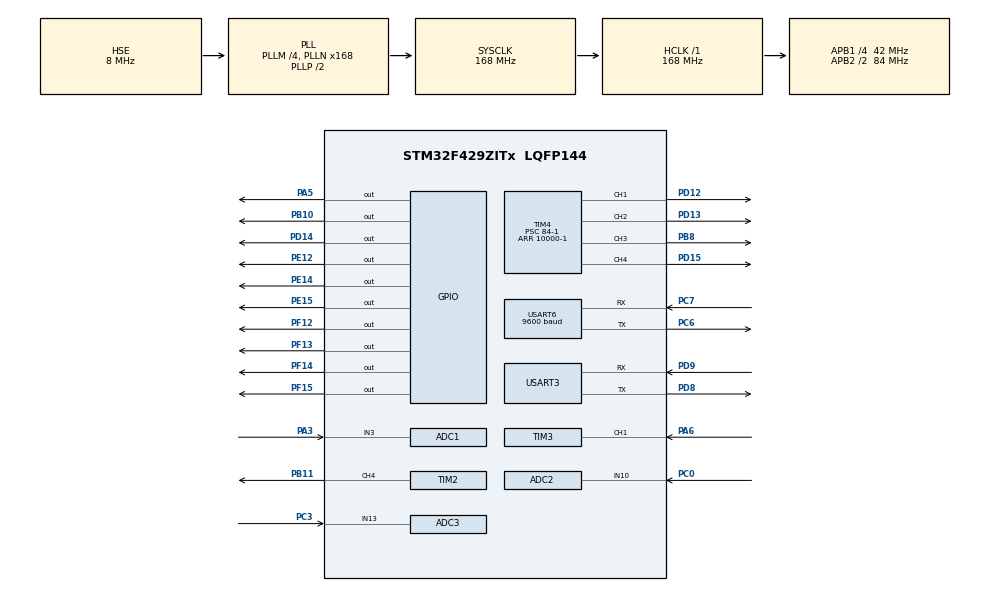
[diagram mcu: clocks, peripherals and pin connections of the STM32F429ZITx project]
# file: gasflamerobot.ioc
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ADC1.Channel-3\#ChannelRegularConversion=ADC_CHANNEL_3
ADC1.NbrOfConversionFlag=1
ADC1.Rank-3\#ChannelRegularConversion=1
ADC1.SamplingTime-3\#ChannelRegularConversion=ADC_SAMPLETIME_3CYCLES
ADC1.master=1
ADC2.Channel-3\#ChannelRegularConversion=ADC_CHANNEL_10
ADC2.NbrOfConversionFlag=1
ADC2.Rank-3\#ChannelRegularConversion=1
ADC2.SamplingTime-3\#ChannelRegularConversion=ADC_SAMPLETIME_3CYCLES
ADC3.Channel-2\#ChannelRegularConversion=ADC_CHANNEL_13
ADC3.NbrOfConversionFlag=1
ADC3.Rank-2\#ChannelRegularConversion=1
ADC3.SamplingTime-2\#ChannelRegularConversion=ADC_SAMPLETIME_3CYCLES
FREERTOS.Tasks01=drivingTask,24,128,drivingTask_init,Default,NULL,Dynamic,NULL,NULL;sensorTask,24,128,sensorTask_init,Default,NULL,Dynamic,NULL,NULL
Mcu.Family=STM32F4
Mcu.Name=STM32F429ZITx
Mcu.Package=LQFP144
NVIC.PriorityGroup=NVIC_PRIORITYGROUP_4
NVIC.TIM3_IRQn=true\:5\:0\:false\:false\:true\:true\:true\:true\:true
PA13.Mode=Serial_Wire
PA13.Signal=SYS_JTMS-SWDIO
PA14.Mode=Serial_Wire
PA14.Signal=SYS_JTCK-SWCLK
PA3.Signal=ADCx_IN3
PA5.Signal=GPIO_Output
PA6.Signal=S_TIM3_CH1
PB10.Signal=GPIO_Output
PB11.Signal=S_TIM2_CH4
PB8.Signal=S_TIM4_CH3
PC0.Signal=ADCx_IN10
PC14/OSC32_IN.Mode=LSE-External-Oscillator
PC14/OSC32_IN.Signal=RCC_OSC32_IN
PC15/OSC32_OUT.Mode=LSE-External-Oscillator
PC15/OSC32_OUT.Signal=RCC_OSC32_OUT
PC3.Signal=ADCx_IN13
PC6.Mode=Asynchronous
PC6.Signal=USART6_TX
PC7.Mode=Asynchronous
PC7.Signal=USART6_RX
PD12.Signal=S_TIM4_CH1
PD13.Signal=S_TIM4_CH2
PD14.Signal=GPIO_Output
PD15.Signal=S_TIM4_CH4
PD8.Mode=Asynchronous
PD8.Signal=USART3_TX
PD9.Mode=Asynchronous
PD9.Signal=USART3_RX
PE12.Signal=GPIO_Output
PE14.Signal=GPIO_Output
PE15.Signal=GPIO_Output
PF12.Signal=GPIO_Output
PF13.Signal=GPIO_Output
PF14.Signal=GPIO_Output
PF15.Signal=GPIO_Output
PH0/OSC_IN.Mode=HSE-External-Clock-Source
PH0/OSC_IN.Signal=RCC_OSC_IN
PH1/OSC_OUT.Mode=HSE-External-Clock-Source
PH1/OSC_OUT.Signal=RCC_OSC_OUT
ProjectManager.HeapSize=0x200
ProjectManager.StackSize=0x400
ProjectManager.TargetToolchain=STM32CubeIDE
RCC.48MHZClocksFreq_Value=48000000
RCC.AHBFreq_Value=168000000
RCC.APB1CLKDivider=RCC_HCLK_DIV4
RCC.APB1Freq_Value=42000000
RCC.APB1TimFreq_Value=84000000
RCC.APB2CLKDivider=RCC_HCLK_DIV2
RCC.APB2Freq_Value=84000000
RCC.APB2TimFreq_Value=168000000
RCC.CortexFreq_Value=168000000
RCC.HCLKFreq_Value=168000000
RCC.HSE_VALUE=8000000
RCC.HSI_VALUE=16000000
RCC.PLLM=4
RCC.PLLMUL=RCC_PLL_MUL9
RCC.PLLN=168
RCC.PLLQ=7
RCC.PLLSourceVirtual=RCC_PLLSOURCE_HSE
RCC.PRESCALERUSB=RCC_USBCLKSOURCE_PLL_DIV1_5
RCC.SYSCLKFreq_VALUE=168000000
RCC.SYSCLKSource=RCC_SYSCLKSOURCE_PLLCLK
RCC.SYSCLKSourceVirtual=RCC_SYSCLKSOURCE_PLLCLK
RCC.USBFreq_Value=48000000
RCC.VCOOutputFreq_Value=336000000
SH.ADCx_IN10.0=ADC2_IN10,IN10
SH.ADCx_IN13.0=ADC3_IN13,IN13
SH.ADCx_IN3.0=ADC1_IN3,IN3
SH.S_TIM2_CH4.0=TIM2_CH4,PWM Generation4 CH4
SH.S_TIM3_CH1.0=TIM3_CH1,Input_Capture1_from_TI1
SH.S_TIM4_CH1.0=TIM4_CH1,PWM Generation1 CH1
SH.S_TIM4_CH2.0=TIM4_CH2,PWM Generation2 CH2
SH.S_TIM4_CH3.0=TIM4_CH3,PWM Generation3 CH3
SH.S_TIM4_CH4.0=TIM4_CH4,PWM Generation4 CH4
TIM2.Channel-PWM\ Generation4\ CH4=TIM_CHANNEL_4
TIM2.Period=1000-1
TIM2.Prescaler=1680-1
TIM3.Channel-Input_Capture1_from_TI1=TIM_CHANNEL_1
TIM3.Period=65535-1
TIM3.Prescaler=84-1
TIM4.Channel-PWM\ Generation1\ CH1=TIM_CHANNEL_1
TIM4.Channel-PWM\ Generation2\ CH2=TIM_CHANNEL_2
TIM4.Channel-PWM\ Generation3\ CH3=TIM_CHANNEL_3
TIM4.Channel-PWM\ Generation4\ CH4=TIM_CHANNEL_4
TIM4.Period=10000-1
TIM4.Prescaler=84-1
USART3.VirtualMode=VM_ASYNC
USART6.BaudRate=9600
USART6.VirtualMode=VM_ASYNC
VP_FREERTOS_VS_CMSIS_V2.Mode=CMSIS_V2
VP_TIM3_VS_ClockSourceINT.Mode=Internal
board=NUCLEO-F429ZI

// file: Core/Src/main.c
#include "main.h"
#include "cmsis_os.h"

#define TRIG_PIN GPIO_PIN_5
#define TRIG_PORT GPIOA

uint16_t value1;

typedef struct{
uint16_t distance;
uint16_t value2;
}IR;

IR r;

typedef struct{
uint32_t IC_Val1 = 0;
uint32_t IC_Val2 = 0;
uint32_t Difference = 0;
uint8_t Is_First_Captured = 0;
uint8_t Distance  = 0;
}Ultra;

Ultra u;

char buf[50];
char buf2[50];
char buf3[50];
char buf4[50];

ADC_HandleTypeDef hadc1;
ADC_HandleTypeDef hadc2;
ADC_HandleTypeDef hadc3;

TIM_HandleTypeDef htim2;
TIM_HandleTypeDef htim3;
TIM_HandleTypeDef htim4;

UART_HandleTypeDef huart3;
UART_HandleTypeDef huart6;

osThreadId_t drivingTaskHandle;
const osThreadAttr_t drivingTask_attributes = {
  .name = "drivingTask",
  .stack_size = 128 * 4,
  .priority = (osPriority_t) osPriorityNormal,
};

osThreadId_t sensorTaskHandle;
const osThreadAttr_t sensorTask_attributes = {
  .name = "sensorTask",
  .stack_size = 128 * 4,
  .priority = (osPriority_t) osPriorityNormal,
};

void SystemClock_Config(void);
static void MX_GPIO_Init(void);
static void MX_USART3_UART_Init(void);
static void MX_ADC1_Init(void);
static void MX_ADC2_Init(void);
static void MX_ADC3_Init(void);
static void MX_TIM4_Init(void);
static void MX_TIM2_Init(void);
static void MX_USART6_UART_Init(void);
static void MX_TIM3_Init(void);
void drivingTask_init(void *argument);
void sensorTask_init(void *argument);

int main(void)
{

  HAL_Init();

  SystemClock_Config();

  MX_GPIO_Init();
  MX_USART3_UART_Init();
  MX_ADC1_Init();
  MX_ADC2_Init();
  MX_ADC3_Init();
  MX_TIM4_Init();
  MX_TIM2_Init();
  MX_USART6_UART_Init();
  MX_TIM3_Init();

  osKernelInitialize();

  drivingTaskHandle = osThreadNew(drivingTask_init, NULL, &drivingTask_attributes);

  sensorTaskHandle = osThreadNew(sensorTask_init, NULL, &sensorTask_attributes);

  osKernelStart();

  while (1)
  {

  }
}

void SystemClock_Config(void)
{
  RCC_OscInitTypeDef RCC_OscInitStruct = {0};
  RCC_ClkInitTypeDef RCC_ClkInitStruct = {0};

  __HAL_RCC_PWR_CLK_ENABLE();
  __HAL_PWR_VOLTAGESCALING_CONFIG(PWR_REGULATOR_VOLTAGE_SCALE1);

  RCC_OscInitStruct.OscillatorType = RCC_OSCILLATORTYPE_HSE;
  RCC_OscInitStruct.HSEState = RCC_HSE_BYPASS;
  RCC_OscInitStruct.PLL.PLLState = RCC_PLL_ON;
  RCC_OscInitStruct.PLL.PLLSource = RCC_PLLSOURCE_HSE;
  RCC_OscInitStruct.PLL.PLLM = 4;
  RCC_OscInitStruct.PLL.PLLN = 168;
  RCC_OscInitStruct.PLL.PLLP = RCC_PLLP_DIV2;
  RCC_OscInitStruct.PLL.PLLQ = 7;
  if (HAL_RCC_OscConfig(&RCC_OscInitStruct) != HAL_OK)
  {
    Error_Handler();
  }

  RCC_ClkInitStruct.ClockType = RCC_CLOCKTYPE_HCLK|RCC_CLOCKTYPE_SYSCLK
                              |RCC_CLOCKTYPE_PCLK1|RCC_CLOCKTYPE_PCLK2;
  RCC_ClkInitStruct.SYSCLKSource = RCC_SYSCLKSOURCE_PLLCLK;
  RCC_ClkInitStruct.AHBCLKDivider = RCC_SYSCLK_DIV1;
  RCC_ClkInitStruct.APB1CLKDivider = RCC_HCLK_DIV4;
  RCC_ClkInitStruct.APB2CLKDivider = RCC_HCLK_DIV2;

  if (HAL_RCC_ClockConfig(&RCC_ClkInitStruct, FLASH_LATENCY_5) != HAL_OK)
  {
    Error_Handler();
  }
}

static void MX_ADC1_Init(void)
{

  ADC_ChannelConfTypeDef sConfig = {0};

  hadc1.Instance = ADC1;
  hadc1.Init.ClockPrescaler = ADC_CLOCK_SYNC_PCLK_DIV4;
  hadc1.Init.Resolution = ADC_RESOLUTION_12B;
  hadc1.Init.ScanConvMode = DISABLE;
  hadc1.Init.ContinuousConvMode = DISABLE;
  hadc1.Init.DiscontinuousConvMode = DISABLE;
  hadc1.Init.ExternalTrigConvEdge = ADC_EXTERNALTRIGCONVEDGE_NONE;
  hadc1.Init.ExternalTrigConv = ADC_SOFTWARE_START;
  hadc1.Init.DataAlign = ADC_DATAALIGN_RIGHT;
  hadc1.Init.NbrOfConversion = 1;
  hadc1.Init.DMAContinuousRequests = DISABLE;
  hadc1.Init.EOCSelection = ADC_EOC_SINGLE_CONV;
  if (HAL_ADC_Init(&hadc1) != HAL_OK)
  {
    Error_Handler();
  }

  sConfig.Channel = ADC_CHANNEL_3;
  sConfig.Rank = 1;
  sConfig.SamplingTime = ADC_SAMPLETIME_3CYCLES;
  if (HAL_ADC_ConfigChannel(&hadc1, &sConfig) != HAL_OK)
  {
    Error_Handler();
  }

}

static void MX_ADC2_Init(void)
{

  ADC_ChannelConfTypeDef sConfig = {0};

  hadc2.Instance = ADC2;
  hadc2.Init.ClockPrescaler = ADC_CLOCK_SYNC_PCLK_DIV4;
  hadc2.Init.Resolution = ADC_RESOLUTION_12B;
  hadc2.Init.ScanConvMode = DISABLE;
  hadc2.Init.ContinuousConvMode = DISABLE;
  hadc2.Init.DiscontinuousConvMode = DISABLE;
  hadc2.Init.ExternalTrigConvEdge = ADC_EXTERNALTRIGCONVEDGE_NONE;
  hadc2.Init.ExternalTrigConv = ADC_SOFTWARE_START;
  hadc2.Init.DataAlign = ADC_DATAALIGN_RIGHT;
  hadc2.Init.NbrOfConversion = 1;
  hadc2.Init.DMAContinuousRequests = DISABLE;
  hadc2.Init.EOCSelection = ADC_EOC_SINGLE_CONV;
  if (HAL_ADC_Init(&hadc2) != HAL_OK)
  {
    Error_Handler();
  }

  sConfig.Channel = ADC_CHANNEL_10;
  sConfig.Rank = 1;
  sConfig.SamplingTime = ADC_SAMPLETIME_3CYCLES;
  if (HAL_ADC_ConfigChannel(&hadc2, &sConfig) != HAL_OK)
  {
    Error_Handler();
  }

}

static void MX_ADC3_Init(void)
{

  ADC_ChannelConfTypeDef sConfig = {0};

  hadc3.Instance = ADC3;
  hadc3.Init.ClockPrescaler = ADC_CLOCK_SYNC_PCLK_DIV4;
  hadc3.Init.Resolution = ADC_RESOLUTION_12B;
  hadc3.Init.ScanConvMode = DISABLE;
  hadc3.Init.ContinuousConvMode = DISABLE;
  hadc3.Init.DiscontinuousConvMode = DISABLE;
  hadc3.Init.ExternalTrigConvEdge = ADC_EXTERNALTRIGCONVEDGE_NONE;
  hadc3.Init.ExternalTrigConv = ADC_SOFTWARE_START;
  hadc3.Init.DataAlign = ADC_DATAALIGN_RIGHT;
  hadc3.Init.NbrOfConversion = 1;
  hadc3.Init.DMAContinuousRequests = DISABLE;
  hadc3.Init.EOCSelection = ADC_EOC_SINGLE_CONV;
  if (HAL_ADC_Init(&hadc3) != HAL_OK)
  {
    Error_Handler();
  }

  sConfig.Channel = ADC_CHANNEL_13;
  sConfig.Rank = 1;
  sConfig.SamplingTime = ADC_SAMPLETIME_3CYCLES;
  if (HAL_ADC_ConfigChannel(&hadc3, &sConfig) != HAL_OK)
  {
    Error_Handler();
  }
}

static void MX_TIM2_Init(void)
{

  TIM_MasterConfigTypeDef sMasterConfig = {0};
  TIM_OC_InitTypeDef sConfigOC = {0};

  htim2.Instance = TIM2;
  htim2.Init.Prescaler = 1680-1;
  htim2.Init.CounterMode = TIM_COUNTERMODE_UP;
  htim2.Init.Period = 1000-1;
  htim2.Init.ClockDivision = TIM_CLOCKDIVISION_DIV1;
  htim2.Init.AutoReloadPreload = TIM_AUTORELOAD_PRELOAD_DISABLE;
  if (HAL_TIM_PWM_Init(&htim2) != HAL_OK)
  {
    Error_Handler();
  }
  sMasterConfig.MasterOutputTrigger = TIM_TRGO_RESET;
  sMasterConfig.MasterSlaveMode = TIM_MASTERSLAVEMODE_DISABLE;
  if (HAL_TIMEx_MasterConfigSynchronization(&htim2, &sMasterConfig) != HAL_OK)
  {
    Error_Handler();
  }
  sConfigOC.OCMode = TIM_OCMODE_PWM1;
  sConfigOC.Pulse = 0;
  sConfigOC.OCPolarity = TIM_OCPOLARITY_HIGH;
  sConfigOC.OCFastMode = TIM_OCFAST_DISABLE;
  if (HAL_TIM_PWM_ConfigChannel(&htim2, &sConfigOC, TIM_CHANNEL_4) != HAL_OK)
  {
    Error_Handler();
  }

  HAL_TIM_MspPostInit(&htim2);

}

static void MX_TIM3_Init(void)
{

  TIM_ClockConfigTypeDef sClockSourceConfig = {0};
  TIM_MasterConfigTypeDef sMasterConfig = {0};
  TIM_IC_InitTypeDef sConfigIC = {0};

  htim3.Instance = TIM3;
  htim3.Init.Prescaler = 84-1;
  htim3.Init.CounterMode = TIM_COUNTERMODE_UP;
  htim3.Init.Period = 65535-1;
  htim3.Init.ClockDivision = TIM_CLOCKDIVISION_DIV1;
  htim3.Init.AutoReloadPreload = TIM_AUTORELOAD_PRELOAD_DISABLE;
  if (HAL_TIM_Base_Init(&htim3) != HAL_OK)
  {
    Error_Handler();
  }
  sClockSourceConfig.ClockSource = TIM_CLOCKSOURCE_INTERNAL;
  if (HAL_TIM_ConfigClockSource(&htim3, &sClockSourceConfig) != HAL_OK)
  {
    Error_Handler();
  }
  if (HAL_TIM_IC_Init(&htim3) != HAL_OK)
  {
    Error_Handler();
  }
  sMasterConfig.MasterOutputTrigger = TIM_TRGO_RESET;
  sMasterConfig.MasterSlaveMode = TIM_MASTERSLAVEMODE_DISABLE;
  if (HAL_TIMEx_MasterConfigSynchronization(&htim3, &sMasterConfig) != HAL_OK)
  {
    Error_Handler();
  }
  sConfigIC.ICPolarity = TIM_INPUTCHANNELPOLARITY_RISING;
  sConfigIC.ICSelection = TIM_ICSELECTION_DIRECTTI;
  sConfigIC.ICPrescaler = TIM_ICPSC_DIV1;
  sConfigIC.ICFilter = 0;
  if (HAL_TIM_IC_ConfigChannel(&htim3, &sConfigIC, TIM_CHANNEL_1) != HAL_OK)
  {
    Error_Handler();
  }

}

static void MX_TIM4_Init(void)
{

  TIM_MasterConfigTypeDef sMasterConfig = {0};
  TIM_OC_InitTypeDef sConfigOC = {0};

  htim4.Instance = TIM4;
  htim4.Init.Prescaler = 84-1;
  htim4.Init.CounterMode = TIM_COUNTERMODE_UP;
  htim4.Init.Period = 10000-1;
  htim4.Init.ClockDivision = TIM_CLOCKDIVISION_DIV1;
  htim4.Init.AutoReloadPreload = TIM_AUTORELOAD_PRELOAD_DISABLE;
  if (HAL_TIM_PWM_Init(&htim4) != HAL_OK)
  {
    Error_Handler();
  }
  sMasterConfig.MasterOutputTrigger = TIM_TRGO_RESET;
  sMasterConfig.MasterSlaveMode = TIM_MASTERSLAVEMODE_DISABLE;
  if (HAL_TIMEx_MasterConfigSynchronization(&htim4, &sMasterConfig) != HAL_OK)
  {
    Error_Handler();
  }
  sConfigOC.OCMode = TIM_OCMODE_PWM1;
  sConfigOC.Pulse = 0;
  sConfigOC.OCPolarity = TIM_OCPOLARITY_HIGH;
  sConfigOC.OCFastMode = TIM_OCFAST_DISABLE;
  if (HAL_TIM_PWM_ConfigChannel(&htim4, &sConfigOC, TIM_CHANNEL_1) != HAL_OK)
  {
    Error_Handler();
  }
  if (HAL_TIM_PWM_ConfigChannel(&htim4, &sConfigOC, TIM_CHANNEL_2) != HAL_OK)
  {
    Error_Handler();
  }
  if (HAL_TIM_PWM_ConfigChannel(&htim4, &sConfigOC, TIM_CHANNEL_3) != HAL_OK)
  {
    Error_Handler();
  }
  if (HAL_TIM_PWM_ConfigChannel(&htim4, &sConfigOC, TIM_CHANNEL_4) != HAL_OK)
  {
    Error_Handler();
  }

  HAL_TIM_MspPostInit(&htim4);

}

static void MX_USART3_UART_Init(void)
{

  huart3.Instance = USART3;
  huart3.Init.BaudRate = 115200;
  huart3.Init.WordLength = UART_WORDLENGTH_8B;
  huart3.Init.StopBits = UART_STOPBITS_1;
  huart3.Init.Parity = UART_PARITY_NONE;
  huart3.Init.Mode = UART_MODE_TX_RX;
  huart3.Init.HwFlowCtl = UART_HWCONTROL_NONE;
  huart3.Init.OverSampling = UART_OVERSAMPLING_16;
  if (HAL_UART_Init(&huart3) != HAL_OK)
  {
    Error_Handler();
  }
}

static void MX_USART6_UART_Init(void)
{

  huart6.Instance = USART6;
  huart6.Init.BaudRate = 9600;
  huart6.Init.WordLength = UART_WORDLENGTH_8B;
  huart6.Init.StopBits = UART_STOPBITS_1;
  huart6.Init.Parity = UART_PARITY_NONE;
  huart6.Init.Mode = UART_MODE_TX_RX;
  huart6.Init.HwFlowCtl = UART_HWCONTROL_NONE;
  huart6.Init.OverSampling = UART_OVERSAMPLING_16;
  if (HAL_UART_Init(&huart6) != HAL_OK)
  {
    Error_Handler();
  }

}

static void MX_GPIO_Init(void)
{
  GPIO_InitTypeDef GPIO_InitStruct = {0};

  __HAL_RCC_GPIOC_CLK_ENABLE();
  __HAL_RCC_GPIOH_CLK_ENABLE();
  __HAL_RCC_GPIOA_CLK_ENABLE();
  __HAL_RCC_GPIOF_CLK_ENABLE();
  __HAL_RCC_GPIOE_CLK_ENABLE();
  __HAL_RCC_GPIOB_CLK_ENABLE();
  __HAL_RCC_GPIOD_CLK_ENABLE();

  HAL_GPIO_WritePin(GPIOA, GPIO_PIN_5, GPIO_PIN_RESET);

  HAL_GPIO_WritePin(GPIOF, GPIO_PIN_12|GPIO_PIN_13|GPIO_PIN_14|GPIO_PIN_15, GPIO_PIN_RESET);

  HAL_GPIO_WritePin(GPIOE, GPIO_PIN_12|GPIO_PIN_14|GPIO_PIN_15, GPIO_PIN_RESET);

  HAL_GPIO_WritePin(GPIOB, GPIO_PIN_10, GPIO_PIN_RESET);

  HAL_GPIO_WritePin(GPIOD, GPIO_PIN_14, GPIO_PIN_RESET);

  GPIO_InitStruct.Pin = GPIO_PIN_5;
  GPIO_InitStruct.Mode = GPIO_MODE_OUTPUT_PP;
  GPIO_InitStruct.Pull = GPIO_NOPULL;
  GPIO_InitStruct.Speed = GPIO_SPEED_FREQ_LOW;
  HAL_GPIO_Init(GPIOA, &GPIO_InitStruct);

  GPIO_InitStruct.Pin = GPIO_PIN_12|GPIO_PIN_13|GPIO_PIN_14|GPIO_PIN_15;
  GPIO_InitStruct.Mode = GPIO_MODE_OUTPUT_PP;
  GPIO_InitStruct.Pull = GPIO_NOPULL;
  GPIO_InitStruct.Speed = GPIO_SPEED_FREQ_LOW;
  HAL_GPIO_Init(GPIOF, &GPIO_InitStruct);

  GPIO_InitStruct.Pin = GPIO_PIN_12|GPIO_PIN_14|GPIO_PIN_15;
  GPIO_InitStruct.Mode = GPIO_MODE_OUTPUT_PP;
  GPIO_InitStruct.Pull = GPIO_NOPULL;
  GPIO_InitStruct.Speed = GPIO_SPEED_FREQ_LOW;
  HAL_GPIO_Init(GPIOE, &GPIO_InitStruct);

  GPIO_InitStruct.Pin = GPIO_PIN_10;
  GPIO_InitStruct.Mode = GPIO_MODE_OUTPUT_PP;
  GPIO_InitStruct.Pull = GPIO_NOPULL;
  GPIO_InitStruct.Speed = GPIO_SPEED_FREQ_LOW;
  HAL_GPIO_Init(GPIOB, &GPIO_InitStruct);

  GPIO_InitStruct.Pin = GPIO_PIN_14;
  GPIO_InitStruct.Mode = GPIO_MODE_OUTPUT_PP;
  GPIO_InitStruct.Pull = GPIO_NOPULL;
  GPIO_InitStruct.Speed = GPIO_SPEED_FREQ_LOW;
  HAL_GPIO_Init(GPIOD, &GPIO_InitStruct);

}

/* USER CODE BEGIN 4 */
void straight(){
	 GPIOF->ODR |= 0x1000;
	 GPIOF->ODR &= ~(0x2000);
	 GPIOF->ODR &= ~(0x4000);
	 GPIOF->ODR |= 0x8000;

	 GPIOE->ODR |= 0x1000;
	 GPIOE->ODR &= ~(0x4000);
	 GPIOE->ODR &= ~(0x8000);
	 GPIOB->ODR |= 0x0400;
}

void Lrotate(){
	 GPIOF->ODR |= 0x2000;
	 GPIOF->ODR &= ~(0x1000);
	 GPIOF->ODR &= ~(0x4000);
	 GPIOF->ODR |= 0x8000;

	 GPIOE->ODR |= 0x4000;
	 GPIOE->ODR &= ~(0x1000);
	 GPIOE->ODR &= ~(0x8000);
	 GPIOB->ODR |= 0x0400;
}

void Rrotate(){
	GPIOF->ODR &= ~(0x2000);
	GPIOF->ODR |= 0x1000;
	GPIOF->ODR |= 0x4000;
	GPIOF->ODR &= ~(0x8000);

	 GPIOE->ODR &= ~(0x4000);
	 GPIOE->ODR |= 0x1000;
	 GPIOE->ODR |= 0x8000;
	 GPIOB->ODR &= ~(0x0400);

}

void Pause(){
	 GPIOF->ODR &= ~(0x1000);
	 GPIOF->ODR &= ~(0x2000);
	 GPIOF->ODR &= ~(0x4000);
	 GPIOF->ODR &= ~(0x8000);

	 GPIOE->ODR &= ~(0x1000);
	 GPIOE->ODR &= ~(0x4000);
	 GPIOE->ODR &= ~(0x8000);
	 GPIOB->ODR &= ~(0x0400);
}

void back(){
	GPIOF->ODR &= ~(0x1000);
        GPIOF->ODR |= 0x2000;
	GPIOF->ODR |= 0x4000;
	GPIOF->ODR &= ~(0x8000);

	GPIOE->ODR &= ~(0x1000);
	GPIOE->ODR |= 0x4000;
	GPIOE->ODR |= 0x8000;
	GPIOB->ODR &= ~(0x0400);
}

/* USER CODE END 4 */
void HAL_TIM_IC_CaptureCallback(TIM_HandleTypeDef *htim)
{
	if (htim->Channel == HAL_TIM_ACTIVE_CHANNEL_1)
//만약 인터럽트 소스 채널2가 활성화 되면//
	{
		if (u.Is_First_Captured==0) //포착된 초음파 변수가 0이라면//
		{
		 u.IC_Val1 = HAL_TIM_ReadCapturedValue(htim, TIM_CHANNEL_1);
// 초음파 읽기 시작 //
		 u.Is_First_Captured = 1;
// 포착된 초음파 변수 설정 //

		 __HAL_TIM_SET_CAPTUREPOLARITY(htim, TIM_CHANNEL_1, TIM_INPUTCHANNELPOLARITY_FALLING);
//폴링엣지에 트리거 되게 설정//
		}

		else if (u.Is_First_Captured==1)
		{
			u.IC_Val2 = HAL_TIM_ReadCapturedValue(htim, TIM_CHANNEL_1);
			__HAL_TIM_SET_COUNTER(htim, 0);
//포착 카운터 초기화//
			if (u.IC_Val2 > u.IC_Val1)
			{
				u.Difference = u.IC_Val2-u.IC_Val1;
// 거리 값을 위한 첫번째 벨류값, 두번째 벨류값 차 계산//
			}

			else if (u.IC_Val1 > u.IC_Val2)
			{
				u.Difference = (0xffff - u.IC_Val1) + u.IC_Val2;
//오버플로우 계산//
			}

			u.Distance = u.Difference * .034/2;
//음속인 340ms를 곱해서 거리 환산//
			u.Is_First_Captured = 0;
// 다시 변수 초기화//

			__HAL_TIM_SET_CAPTUREPOLARITY(htim, TIM_CHANNEL_1, TIM_INPUTCHANNELPOLARITY_RISING);
//라이징 펄스에 트리거되도록 설정//
			__HAL_TIM_DISABLE_IT(&htim3, TIM_IT_CC1);
		}

	}

	}

void HCSR04_Read (void)
{
	HAL_GPIO_WritePin(TRIG_PORT, TRIG_PIN, GPIO_PIN_SET);
	HAL_Delay(0.01);
	HAL_GPIO_WritePin(TRIG_PORT, TRIG_PIN, GPIO_PIN_RESET);

	__HAL_TIM_ENABLE_IT(&htim3, TIM_IT_CC1);
}

void drivingTask_init(void *argument) /*장애물 감지를 위한 센서 2개개 동작은 driving Task에 구현*/
{
  /* USER CODE BEGIN 5 */
  /* Infinite loop */
HAL_TIM_IC_Start_IT(&htim3, TIM_CHANNEL_1);
HAL_TIM_PWM_Start(&htim2,TIM_CHANNEL_4);
  for(;;)
  {
ADC3->CR2 |= 0x40000001;
r.value2 = ADC3->DR;

r.distance = (3420-r.value2)/22.6;

TIM4->CCER |= 0x1111;

TIM4->CR1 |= 0x0001;

TIM4->CCR4 = 8000;
TIM4->CCR3 = 8000;
TIM4->CCR2 = 8000;
TIM4->CCR1 = 8000;

HCSR04_Read();

sprintf(buf,"1:%d\r\n",Distance);
sprintf(buf4,"2:%d\r\n",distance);
HAL_UART_Transmit(&huart3,buf,sizeof(buf),0xFFFF);
HAL_UART_Transmit(&huart3,buf4,sizeof(buf4),0xFFFF);
if(value1 > 0){
if(u.Distance <= 40){
Pause();
osDelay(1000);
back();
osDelay(1000);
Lrotate();
osDelay(1500);

}

else if(r.distance < 40){

Pause();
osDelay(1000);
back();
osDelay(1000);
Rrotate();
osDelay(1500);
}
else if(value1 <2000){

Pause();
TIM2->CCR4 = 120;
osDelay(500);
TIM2->CCR4 = 75;
osDelay(5000);
TIM2->CCR4 = 30;
osDelay(400);
}
else{
straight();
TIM2->CCR4 = 75;
}
}
     }
  /* USER CODE END 5 */
}

void sensorTask_init(void *argument)
{
  /* USER CODE BEGIN sensorTask_init */
  /* Infinite loop */
  for(;;)
  {
 ADC1->CR2 |= 0x40000001;

value1 = ADC1->DR;

sprintf(buf2,"%d\r\n",value1);
HAL_UART_Transmit(&huart6,buf2,sizeof(buf2),0xFFFF);

osDelay(1);
  }
  /* USER CODE END sensorTask_init */
}

void Error_Handler(void)
{

  __disable_irq();
  while (1)
  {
  }

}
